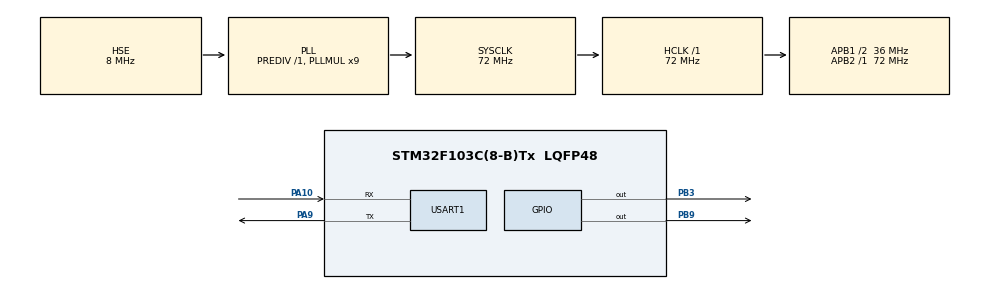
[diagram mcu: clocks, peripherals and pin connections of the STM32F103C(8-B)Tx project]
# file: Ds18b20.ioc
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FREERTOS.Tasks01=taskDS18B20,24,256,StartDS18B20Task,Default,NULL,Dynamic,NULL,NULL;taskMotor,24,256,startMotorTask,Default,NULL,Dynamic,NULL,NULL
FREERTOS.configUSE_NEWLIB_REENTRANT=1
Mcu.Family=STM32F1
Mcu.Name=STM32F103C(8-B)Tx
Mcu.Package=LQFP48
NVIC.PriorityGroup=NVIC_PRIORITYGROUP_4
NVIC.TIM1_UP_IRQn=true\:15\:0\:false\:false\:true\:false\:false\:true
NVIC.TimeBase=TIM1_UP_IRQn
NVIC.TimeBaseIP=TIM1
NVIC.USART1_IRQn=true\:5\:0\:false\:false\:true\:true\:true\:true
PA10.Mode=Asynchronous
PA10.Signal=USART1_RX
PA13.Mode=Serial_Wire
PA13.Signal=SYS_JTMS-SWDIO
PA14.Mode=Serial_Wire
PA14.Signal=SYS_JTCK-SWCLK
PA9.Mode=Asynchronous
PA9.Signal=USART1_TX
PB3.Signal=GPIO_Output
PB9.Signal=GPIO_Output
PD0-OSC_IN.Mode=HSE-External-Oscillator
PD0-OSC_IN.Signal=RCC_OSC_IN
PD1-OSC_OUT.Mode=HSE-External-Oscillator
PD1-OSC_OUT.Signal=RCC_OSC_OUT
ProjectManager.HeapSize=0x200
ProjectManager.StackSize=0x400
ProjectManager.TargetToolchain=STM32CubeIDE
RCC.AHBFreq_Value=72000000
RCC.APB1CLKDivider=RCC_HCLK_DIV2
RCC.APB1Freq_Value=36000000
RCC.APB1TimFreq_Value=72000000
RCC.APB2Freq_Value=72000000
RCC.APB2TimFreq_Value=72000000
RCC.HCLKFreq_Value=72000000
RCC.PLLMUL=RCC_PLL_MUL9
RCC.PLLSourceVirtual=RCC_PLLSOURCE_HSE
RCC.SYSCLKFreq_VALUE=72000000
RCC.SYSCLKSource=RCC_SYSCLKSOURCE_PLLCLK
RCC.USBFreq_Value=72000000
TIM2.Prescaler=72-1
USART1.VirtualMode=VM_ASYNC
VP_FREERTOS_VS_CMSIS_V2.Mode=CMSIS_V2
VP_SYS_VS_tim1.Mode=TIM1
VP_TIM2_VS_ClockSourceINT.Mode=Internal
board=custom

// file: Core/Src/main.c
/* USER CODE BEGIN Header */
/**
  ******************************************************************************
  * @file           : main.c
  * @brief          : Main program body
  ******************************************************************************
  * @attention
  *
  * <h2><center>&copy; Copyright (c) 2022 STMicroelectronics.
  * All rights reserved.</center></h2>
  *
  * This software component is licensed by ST under Ultimate Liberty license
  * SLA0044, the "License"; You may not use this file except in compliance with
  * the License. You may obtain a copy of the License at:
  *                             www.st.com/SLA0044
  *
  ******************************************************************************
  */
/* USER CODE END Header */
#include "main.h"
#include "cmsis_os.h"

/* USER CODE BEGIN Includes */
#include <stdio.h>
#include "DS18B20.h"
/* USER CODE END Includes */

TIM_HandleTypeDef htim2;

UART_HandleTypeDef huart1;

/* Definitions for taskDS18B20 */
osThreadId_t taskDS18B20Handle;
const osThreadAttr_t taskDS18B20_attributes = {
  .name = "taskDS18B20",
  .stack_size = 256 * 4,
  .priority = (osPriority_t) osPriorityNormal,
};
/* Definitions for taskMotor */
osThreadId_t taskMotorHandle;
const osThreadAttr_t taskMotor_attributes = {
  .name = "taskMotor",
  .stack_size = 256 * 4,
  .priority = (osPriority_t) osPriorityNormal,
};

void SystemClock_Config(void);
static void MX_GPIO_Init(void);
static void MX_USART1_UART_Init(void);
static void MX_TIM2_Init(void);
void StartDS18B20Task(void *argument);
void startMotorTask(void *argument);

/* USER CODE BEGIN 0 */
uint8_t rxBuff = 0;
/* USER CODE END 0 */

int main(void)
{

  /* MCU Configuration--------------------------------------------------------*/

  /* Reset of all peripherals, Initializes the Flash interface and the Systick. */
  HAL_Init();

  /* Configure the system clock */
  SystemClock_Config();

  /* Initialize all configured peripherals */
  MX_GPIO_Init();
  MX_USART1_UART_Init();
  MX_TIM2_Init();
  /* USER CODE BEGIN 2 */
  HAL_TIM_Base_Start(&htim2);
  /* USER CODE END 2 */

  /* Init scheduler */
  osKernelInitialize();

  /* Create the thread(s) */
  /* creation of taskDS18B20 */
  taskDS18B20Handle = osThreadNew(StartDS18B20Task, NULL, &taskDS18B20_attributes);

  /* creation of taskMotor */
  taskMotorHandle = osThreadNew(startMotorTask, NULL, &taskMotor_attributes);

  /* Start scheduler */
  osKernelStart();

  /* We should never get here as control is now taken by the scheduler */
  /* Infinite loop */
  while (1)
  {

  }
}

void SystemClock_Config(void)
{
  RCC_OscInitTypeDef RCC_OscInitStruct = {0};
  RCC_ClkInitTypeDef RCC_ClkInitStruct = {0};

  /** Initializes the RCC Oscillators according to the specified parameters
  * in the RCC_OscInitTypeDef structure.
  */
  RCC_OscInitStruct.OscillatorType = RCC_OSCILLATORTYPE_HSE;
  RCC_OscInitStruct.HSEState = RCC_HSE_ON;
  RCC_OscInitStruct.HSEPredivValue = RCC_HSE_PREDIV_DIV1;
  RCC_OscInitStruct.HSIState = RCC_HSI_ON;
  RCC_OscInitStruct.PLL.PLLState = RCC_PLL_ON;
  RCC_OscInitStruct.PLL.PLLSource = RCC_PLLSOURCE_HSE;
  RCC_OscInitStruct.PLL.PLLMUL = RCC_PLL_MUL9;
  if (HAL_RCC_OscConfig(&RCC_OscInitStruct) != HAL_OK)
  {
    Error_Handler();
  }
  /** Initializes the CPU, AHB and APB buses clocks
  */
  RCC_ClkInitStruct.ClockType = RCC_CLOCKTYPE_HCLK|RCC_CLOCKTYPE_SYSCLK
                              |RCC_CLOCKTYPE_PCLK1|RCC_CLOCKTYPE_PCLK2;
  RCC_ClkInitStruct.SYSCLKSource = RCC_SYSCLKSOURCE_PLLCLK;
  RCC_ClkInitStruct.AHBCLKDivider = RCC_SYSCLK_DIV1;
  RCC_ClkInitStruct.APB1CLKDivider = RCC_HCLK_DIV2;
  RCC_ClkInitStruct.APB2CLKDivider = RCC_HCLK_DIV1;

  if (HAL_RCC_ClockConfig(&RCC_ClkInitStruct, FLASH_LATENCY_2) != HAL_OK)
  {
    Error_Handler();
  }
}

static void MX_TIM2_Init(void)
{

  TIM_ClockConfigTypeDef sClockSourceConfig = {0};
  TIM_MasterConfigTypeDef sMasterConfig = {0};

  htim2.Instance = TIM2;
  htim2.Init.Prescaler = 72-1;
  htim2.Init.CounterMode = TIM_COUNTERMODE_UP;
  htim2.Init.Period = 65535;
  htim2.Init.ClockDivision = TIM_CLOCKDIVISION_DIV1;
  htim2.Init.AutoReloadPreload = TIM_AUTORELOAD_PRELOAD_DISABLE;
  if (HAL_TIM_Base_Init(&htim2) != HAL_OK)
  {
    Error_Handler();
  }
  sClockSourceConfig.ClockSource = TIM_CLOCKSOURCE_INTERNAL;
  if (HAL_TIM_ConfigClockSource(&htim2, &sClockSourceConfig) != HAL_OK)
  {
    Error_Handler();
  }
  sMasterConfig.MasterOutputTrigger = TIM_TRGO_RESET;
  sMasterConfig.MasterSlaveMode = TIM_MASTERSLAVEMODE_DISABLE;
  if (HAL_TIMEx_MasterConfigSynchronization(&htim2, &sMasterConfig) != HAL_OK)
  {
    Error_Handler();
  }

}

static void MX_USART1_UART_Init(void)
{

  huart1.Instance = USART1;
  huart1.Init.BaudRate = 115200;
  huart1.Init.WordLength = UART_WORDLENGTH_8B;
  huart1.Init.StopBits = UART_STOPBITS_1;
  huart1.Init.Parity = UART_PARITY_NONE;
  huart1.Init.Mode = UART_MODE_TX_RX;
  huart1.Init.HwFlowCtl = UART_HWCONTROL_NONE;
  huart1.Init.OverSampling = UART_OVERSAMPLING_16;
  if (HAL_UART_Init(&huart1) != HAL_OK)
  {
    Error_Handler();
  }
  /* USER CODE BEGIN USART1_Init 2 */
  HAL_UART_Receive_IT(&huart1, (uint8_t *)&rxBuff, 1);
  /* USER CODE END USART1_Init 2 */

}

static void MX_GPIO_Init(void)
{
  GPIO_InitTypeDef GPIO_InitStruct = {0};

  /* GPIO Ports Clock Enable */
  __HAL_RCC_GPIOD_CLK_ENABLE();
  __HAL_RCC_GPIOA_CLK_ENABLE();
  __HAL_RCC_GPIOB_CLK_ENABLE();

  /*Configure GPIO pin Output Level */
  HAL_GPIO_WritePin(GPIOB, GPIO_PIN_3|GPIO_PIN_9, GPIO_PIN_RESET);

  /*Configure GPIO pins : PB3 PB9 */
  GPIO_InitStruct.Pin = GPIO_PIN_3|GPIO_PIN_9;
  GPIO_InitStruct.Mode = GPIO_MODE_OUTPUT_PP;
  GPIO_InitStruct.Pull = GPIO_NOPULL;
  GPIO_InitStruct.Speed = GPIO_SPEED_FREQ_LOW;
  HAL_GPIO_Init(GPIOB, &GPIO_InitStruct);

}

/* USER CODE BEGIN 4 */

void HAL_UART_RxCpltCallback(UART_HandleTypeDef *huart)
{

	if(huart->Instance == USART1) {
		if(rxBuff == 't') {
			HAL_GPIO_TogglePin(GPIOB, GPIO_PIN_3);
			// giai phong Semaphore;
		}

		HAL_UART_Receive_IT(&huart1, &rxBuff, 1);
	}

}

int __io_putchar(int ch) {

	HAL_UART_Transmit(&huart1,(uint8_t *)&ch, 1, 500);

	return ch;
}

void Delay_us(uint16_t us) {
	__HAL_TIM_SET_COUNTER(&htim2, 0);
	while(__HAL_TIM_GET_COUNTER(&htim2) < us);
}

/* USER CODE END 4 */

void StartDS18B20Task(void *argument)
{
  /* USER CODE BEGIN 5 */
  uint8_t temp_byte1 = 0;
  uint8_t temp_byte2 = 0;
  uint16_t temp = 0;
  //float temp = 0;
  /* Infinite loop */
  for(;;)
  {
	uint8_t presence = 0;
	while((presence = DS18B20_Start()) != 1);
	presence = 0;
    osDelay(1);
    DS18B20_Write(0xCC);	// skip ROM
    DS18B20_Write(0x44);	// convert T
    osDelay(200);
    while((presence = DS18B20_Start()) != 1);
    osDelay(1);
    DS18B20_Write(0xCC);
    DS18B20_Write(0xBE);

    temp_byte1 = DS18B20_Read();
    temp_byte2 = DS18B20_Read();

    temp = ((temp_byte2) << 8) | temp_byte1;

    //temp = handle_temp(temp_byte1, temp_byte2);
    printf("TEMP = %0.3f\n\n", (float) (temp / 16.0));

    osDelay(3000);
  }
  /* USER CODE END 5 */
}

void startMotorTask(void *argument)
{
  for(;;)
  {
    osDelay(1);
  }
}

void HAL_TIM_PeriodElapsedCallback(TIM_HandleTypeDef *htim)
{
  if (htim->Instance == TIM1) {
    HAL_IncTick();
  }
}

void Error_Handler(void)
{
  __disable_irq();
  while (1)
  {
  }
}

/************************ (C) COPYRIGHT STMicroelectronics *****END OF FILE****/
